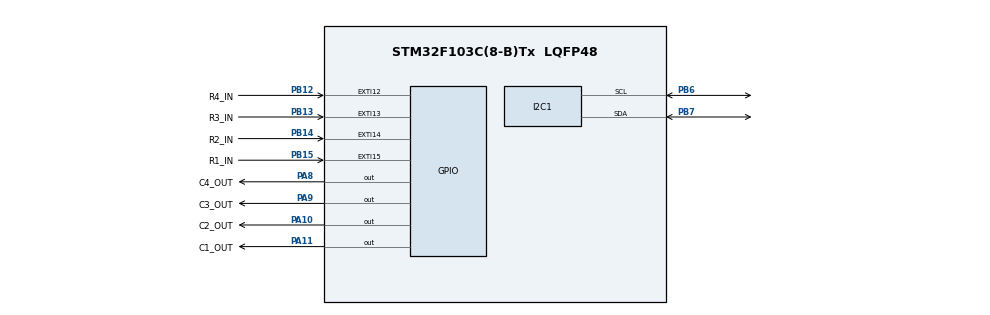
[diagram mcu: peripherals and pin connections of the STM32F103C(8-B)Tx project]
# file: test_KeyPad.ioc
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Mcu.Family=STM32F1
Mcu.Name=STM32F103C(8-B)Tx
Mcu.Package=LQFP48
NVIC.EXTI15_10_IRQn=true\:5\:0\:true\:false\:true\:true\:true\:true
NVIC.PriorityGroup=NVIC_PRIORITYGROUP_4
PA10.GPIO_Label=C2_OUT
PA10.GPIO_PuPd=GPIO_PULLDOWN
PA10.Signal=GPIO_Output
PA11.GPIO_Label=C1_OUT
PA11.GPIO_PuPd=GPIO_PULLDOWN
PA11.Signal=GPIO_Output
PA13.Mode=Serial_Wire
PA13.Signal=SYS_JTMS-SWDIO
PA14.Mode=Serial_Wire
PA14.Signal=SYS_JTCK-SWCLK
PA8.GPIO_Label=C4_OUT
PA8.GPIO_PuPd=GPIO_PULLDOWN
PA8.Signal=GPIO_Output
PA9.GPIO_Label=C3_OUT
PA9.GPIO_PuPd=GPIO_PULLDOWN
PA9.Signal=GPIO_Output
PB12.GPIO_Label=R4_IN
PB12.GPIO_ModeDefaultEXTI=GPIO_MODE_IT_FALLING
PB12.GPIO_PuPd=GPIO_PULLUP
PB12.Signal=GPXTI12
PB13.GPIO_Label=R3_IN
PB13.GPIO_ModeDefaultEXTI=GPIO_MODE_IT_FALLING
PB13.GPIO_PuPd=GPIO_PULLUP
PB13.Signal=GPXTI13
PB14.GPIO_Label=R2_IN
PB14.GPIO_ModeDefaultEXTI=GPIO_MODE_IT_FALLING
PB14.GPIO_PuPd=GPIO_PULLUP
PB14.Signal=GPXTI14
PB15.GPIO_Label=R1_IN
PB15.GPIO_ModeDefaultEXTI=GPIO_MODE_IT_FALLING
PB15.GPIO_PuPd=GPIO_PULLUP
PB15.Signal=GPXTI15
PB6.Mode=I2C
PB6.Signal=I2C1_SCL
PB7.Mode=I2C
PB7.Signal=I2C1_SDA
ProjectManager.HeapSize=0x200
ProjectManager.StackSize=0x400
ProjectManager.TargetToolchain=STM32CubeIDE
RCC.APB1Freq_Value=8000000
RCC.APB2Freq_Value=8000000
board=custom

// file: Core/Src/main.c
/* USER CODE BEGIN Header */
/**
  ******************************************************************************
  * @file           : main.c
  * @brief          : Main program body
  ******************************************************************************
  * @attention
  *
  * Copyright (c) 2024 STMicroelectronics.
  * All rights reserved.
  *
  * This software is licensed under terms that can be found in the LICENSE file
  * in the root directory of this software component.
  * If no LICENSE file comes with this software, it is provided AS-IS.
  *
  ******************************************************************************
  */
/* USER CODE END Header */
#include "main.h"

/* USER CODE BEGIN Includes */
#include<KeyPad.h>
/* USER CODE END Includes */

I2C_HandleTypeDef hi2c1;

void SystemClock_Config(void);
static void MX_GPIO_Init(void);
static void MX_I2C1_Init(void);
/* USER CODE BEGIN PFP */

PIN_Rx_INPUT_TYPEDEF state_flag_rx;

void HAL_GPIO_EXTI_Callback(uint16_t GPIO_Pin)
{
	static uint32_t TimeBegin = 0;
	static uint32_t TimeNow = 0;
	if(GPIO_PIN_15 == GPIO_Pin)
	{
		state_flag_rx.flag_input_4r = 1;
	}
	else if(GPIO_PIN_14 == GPIO_Pin)
	{
		state_flag_rx.flag_input_4r = 1;
	}
	else if(GPIO_PIN_13 == GPIO_Pin)
	{
		state_flag_rx.flag_input_4r = 1;
	}
	else if(GPIO_PIN_12 == GPIO_Pin)
	{
		state_flag_rx.flag_input_4r = 1;
	}
	HAL_Delay(70);
	TimeBegin = HAL_GetTick();
	while(		HAL_GPIO_ReadPin(GPIOB, GPIO_PIN_15) == GPIO_PIN_RESET		\
			|| 	HAL_GPIO_ReadPin(GPIOB, GPIO_PIN_14) == GPIO_PIN_RESET 		\
			|| 	HAL_GPIO_ReadPin(GPIOB, GPIO_PIN_13) == GPIO_PIN_RESET	    \
			|| 	HAL_GPIO_ReadPin(GPIOB, GPIO_PIN_12) == GPIO_PIN_RESET)
	{
		TimeNow = HAL_GetTick();
		if(TimeNow - TimeBegin == 5000)
		{
//			ButtonError = 1;
			break;
		}
	}
	HAL_Delay(70);
	EXTI->PR = GPIO_PIN_13 | GPIO_PIN_12 | GPIO_PIN_15 | GPIO_PIN_14;
}
/* USER CODE END PFP */

/* USER CODE BEGIN 0 */
GPIO_COLUMN_TYPEDEF 	COL_KEY_PAD_main;
GPIO_ROW_TYPEDEF 		ROW_KEY_PAD_main;
char key = 0;
uint8_t row = 9 - 1;
/* USER CODE END 0 */

int main(void)
{

  /* MCU Configuration--------------------------------------------------------*/

  /* Reset of all peripherals, Initializes the Flash interface and the Systick. */
  HAL_Init();

  /* Configure the system clock */
  SystemClock_Config();

  /* Initialize all configured peripherals */
  MX_GPIO_Init();
  MX_I2C1_Init();
  /* USER CODE BEGIN 2 */
  KeyPad_Init(		&COL_KEY_PAD_main, &ROW_KEY_PAD_main,												\
					C1_OUT_GPIO_Port, C2_OUT_GPIO_Port, C3_OUT_GPIO_Port, C4_OUT_GPIO_Port,		\
					C1_OUT_Pin, C2_OUT_Pin, C3_OUT_Pin, C4_OUT_Pin,								\
					R1_IN_GPIO_Port, R2_IN_GPIO_Port, R3_IN_GPIO_Port, R4_IN_GPIO_Port,					\
					R1_IN_Pin, R2_IN_Pin, R3_IN_Pin, R4_IN_Pin);
  /* USER CODE END 2 */

  /* Infinite loop */
  /* USER CODE BEGIN WHILE */
  while (1)
  {
//	  key = KEYPAD_Read(&COL_KEY_PAD_main, &ROW_KEY_PAD_main);
	  if(state_flag_rx.flag_input_4r == 1)
	  {
		  state_flag_rx.flag_input_4r = 0;
//		  key = KEYPAD_Read(&COL_KEY_PAD_main, &state_flag_rx, &row);
		  key = KEYPAD_Handler(&COL_KEY_PAD_main, &ROW_KEY_PAD_main, &row);
	  }
//	  check_keypad = HAL_GPIO_ReadPin(GPIOx, GPIO_Pin)
    /* USER CODE END WHILE */

  }
}

void SystemClock_Config(void)
{
  RCC_OscInitTypeDef RCC_OscInitStruct = {0};
  RCC_ClkInitTypeDef RCC_ClkInitStruct = {0};

  /** Initializes the RCC Oscillators according to the specified parameters
  * in the RCC_OscInitTypeDef structure.
  */
  RCC_OscInitStruct.OscillatorType = RCC_OSCILLATORTYPE_HSI;
  RCC_OscInitStruct.HSIState = RCC_HSI_ON;
  RCC_OscInitStruct.HSICalibrationValue = RCC_HSICALIBRATION_DEFAULT;
  RCC_OscInitStruct.PLL.PLLState = RCC_PLL_NONE;
  if (HAL_RCC_OscConfig(&RCC_OscInitStruct) != HAL_OK)
  {
    Error_Handler();
  }

  /** Initializes the CPU, AHB and APB buses clocks
  */
  RCC_ClkInitStruct.ClockType = RCC_CLOCKTYPE_HCLK|RCC_CLOCKTYPE_SYSCLK
                              |RCC_CLOCKTYPE_PCLK1|RCC_CLOCKTYPE_PCLK2;
  RCC_ClkInitStruct.SYSCLKSource = RCC_SYSCLKSOURCE_HSI;
  RCC_ClkInitStruct.AHBCLKDivider = RCC_SYSCLK_DIV1;
  RCC_ClkInitStruct.APB1CLKDivider = RCC_HCLK_DIV1;
  RCC_ClkInitStruct.APB2CLKDivider = RCC_HCLK_DIV1;

  if (HAL_RCC_ClockConfig(&RCC_ClkInitStruct, FLASH_LATENCY_0) != HAL_OK)
  {
    Error_Handler();
  }
}

static void MX_I2C1_Init(void)
{

  hi2c1.Instance = I2C1;
  hi2c1.Init.ClockSpeed = 100000;
  hi2c1.Init.DutyCycle = I2C_DUTYCYCLE_2;
  hi2c1.Init.OwnAddress1 = 0;
  hi2c1.Init.AddressingMode = I2C_ADDRESSINGMODE_7BIT;
  hi2c1.Init.DualAddressMode = I2C_DUALADDRESS_DISABLE;
  hi2c1.Init.OwnAddress2 = 0;
  hi2c1.Init.GeneralCallMode = I2C_GENERALCALL_DISABLE;
  hi2c1.Init.NoStretchMode = I2C_NOSTRETCH_DISABLE;
  if (HAL_I2C_Init(&hi2c1) != HAL_OK)
  {
    Error_Handler();
  }

}

static void MX_GPIO_Init(void)
{
  GPIO_InitTypeDef GPIO_InitStruct = {0};

  /* GPIO Ports Clock Enable */
  __HAL_RCC_GPIOB_CLK_ENABLE();
  __HAL_RCC_GPIOA_CLK_ENABLE();

  /*Configure GPIO pin Output Level */
  HAL_GPIO_WritePin(GPIOA, C4_OUT_Pin|C3_OUT_Pin|C2_OUT_Pin|C1_OUT_Pin, GPIO_PIN_RESET);

  /*Configure GPIO pins : R4_IN_Pin R3_IN_Pin R2_IN_Pin R1_IN_Pin */
  GPIO_InitStruct.Pin = R4_IN_Pin|R3_IN_Pin|R2_IN_Pin|R1_IN_Pin;
  GPIO_InitStruct.Mode = GPIO_MODE_IT_FALLING;
  GPIO_InitStruct.Pull = GPIO_PULLUP;
  HAL_GPIO_Init(GPIOB, &GPIO_InitStruct);

  /*Configure GPIO pins : C4_OUT_Pin C3_OUT_Pin C2_OUT_Pin C1_OUT_Pin */
  GPIO_InitStruct.Pin = C4_OUT_Pin|C3_OUT_Pin|C2_OUT_Pin|C1_OUT_Pin;
  GPIO_InitStruct.Mode = GPIO_MODE_OUTPUT_PP;
  GPIO_InitStruct.Pull = GPIO_PULLDOWN;
  GPIO_InitStruct.Speed = GPIO_SPEED_FREQ_LOW;
  HAL_GPIO_Init(GPIOA, &GPIO_InitStruct);

  /* EXTI interrupt init*/
  HAL_NVIC_SetPriority(EXTI15_10_IRQn, 5, 0);
  HAL_NVIC_EnableIRQ(EXTI15_10_IRQn);

}

void Error_Handler(void)
{
  __disable_irq();
  while (1)
  {
  }
}
